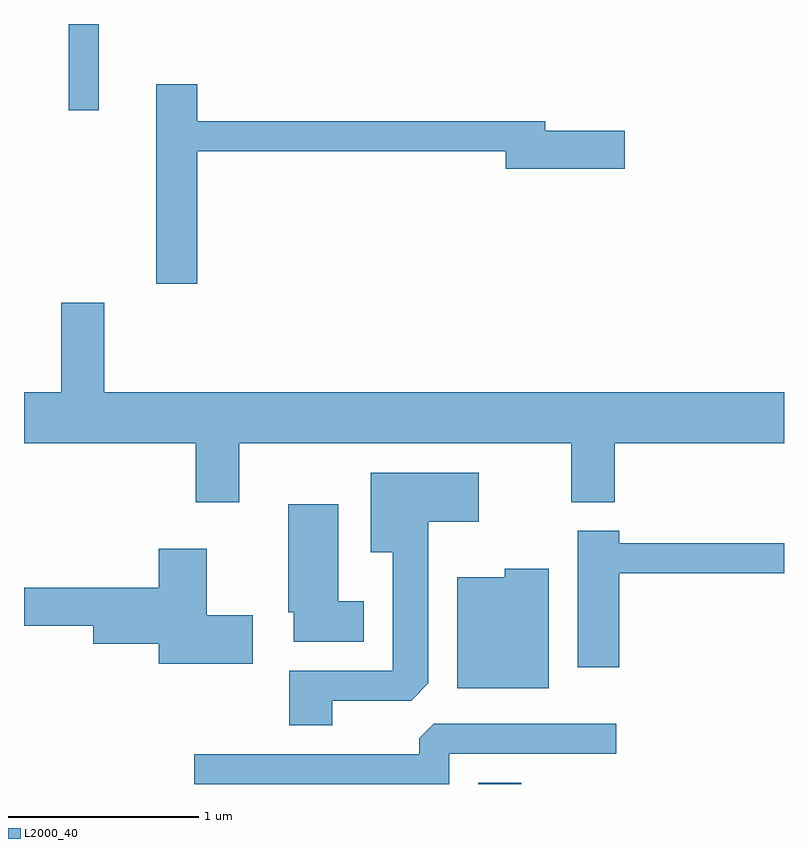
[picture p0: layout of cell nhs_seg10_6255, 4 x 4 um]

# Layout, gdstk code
import gdstk
lib = gdstk.Library(unit=1e-6, precision=1e-09)
def R(c, l, rs):  # rectangles x0, y0, x1, y1
    for r in rs: c.add(gdstk.rectangle(r[:2], r[2:], *l))
def P(c, l, *ps):  # polygons
    for p in ps: c.add(gdstk.Polygon(p, *l))
L2000_40 = (2000, 40)

nhs_seg10_6255 = lib.new_cell('nhs_seg10_6255')
R(nhs_seg10_6255, L2000_40, [(372.001,2156.522,372.229,2156.529), (369.846,2160.068,370.004,2160.522)])
P(nhs_seg10_6255, L2000_40, [(370.524,2159.851),(372.146,2159.851),(372.146,2159.761),(372.774,2159.761),(372.774,2159.959),(372.354,2159.959),(372.354,2160.009),(370.524,2160.009),(370.524,2160.204),(370.306,2160.204),(370.306,2159.156),(370.524,2159.156)],
  [(370.744,2158.316),(372.491,2158.316),(372.491,2158.006),(372.719,2158.006),(372.719,2158.316),(373.611,2158.316),(373.611,2158.584),(370.034,2158.584),(370.034,2159.054),(369.806,2159.054),(369.806,2158.584),(369.611,2158.584),(369.611,2158.316),(370.516,2158.316),(370.516,2158.006),(370.744,2158.006)],
  [(371.234,2156.961),(371.649,2156.961),(371.739,2157.052),(371.739,2157.901),(372.004,2157.901),(372.004,2158.159),(371.436,2158.159),(371.436,2157.741),(371.551,2157.741),(371.551,2157.119),(371.006,2157.119),(371.006,2156.831),(371.234,2156.831)],
  [(371.399,2157.484),(371.264,2157.484),(371.264,2157.994),(371.001,2157.994),(371.001,2157.426),(371.031,2157.426),(371.031,2157.271),(371.399,2157.271)],
  [(372.744,2157.631),(373.611,2157.631),(373.611,2157.789),(372.744,2157.789),(372.744,2157.854),(372.526,2157.854),(372.526,2157.136),(372.744,2157.136)],
  [(370.814,2157.409),(370.574,2157.409),(370.574,2157.759),(370.321,2157.759),(370.321,2157.554),(369.611,2157.554),(369.611,2157.356),(369.976,2157.356),(369.976,2157.261),(370.321,2157.261),(370.321,2157.156),(370.814,2157.156)],
  [(372.374,2157.654),(372.141,2157.654),(372.141,2157.609),(371.891,2157.609),(371.891,2157.026),(372.374,2157.026)],
  [(371.849,2156.681),(372.728,2156.681),(372.728,2156.839),(371.767,2156.839),(371.691,2156.764),(371.691,2156.679),(370.508,2156.679),(370.508,2156.522),(371.849,2156.522)])

lib.write_gds('nhs_seg10_6255.gds')
